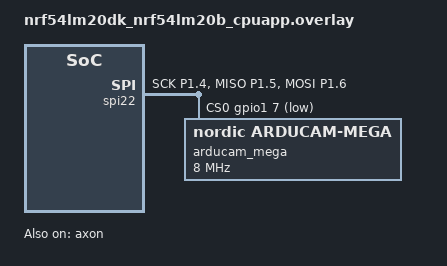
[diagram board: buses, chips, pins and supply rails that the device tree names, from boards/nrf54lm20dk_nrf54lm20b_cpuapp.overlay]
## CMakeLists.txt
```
# Copyright (c) 2026 Nordic Semiconductor
# SPDX-License-Identifier: LicenseRef-Nordic-5-Clause

cmake_minimum_required(VERSION 3.20.0)
find_package(Zephyr REQUIRED HINTS $ENV{ZEPHYR_BASE})
project(person_detection)

list(APPEND DTS_ROOT ${CMAKE_CURRENT_SOURCE_DIR}/dts)

target_sources(app PRIVATE
  src/main.c
  src/postprocessing.c
  src/drivers/arducam_mega.c
)

if(CONFIG_PERSON_DET_MODEL_IN_PARTITION)
  # Second-stage link produces *_model_image.bin merged into zephyr.hex at flash time.
  include(${CMAKE_CURRENT_SOURCE_DIR}/../../lib/axon/model_partition/cmake/nrf_axon_model_partition.cmake)

  nrf_axon_model_partition_image(
    TARGET person_det
    HEADER ${CMAKE_CURRENT_SOURCE_DIR}/src/generated/nrf_axon_model_person_det_.h
    PARTITION_NODELABEL axon_model_partition
  )
endif()
```

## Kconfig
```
#
# Copyright (c) 2026 Nordic Semiconductor ASA
#
# SPDX-License-Identifier: LicenseRef-Nordic-5-Clause
#

menu "Person detection application"

config SCORE_THRESHOLD
	int "Model score threshold, in per mille"
	range 0 1000
	help
	  The confidence score threshold for each person detection.
	  Detections with confidence scores below this threshold are filtered out.

config IOU_THRESHOLD
	int "Boxes IoU threshold, in per mille"
	range 0 1000
	help
	  The Intersection-over-Union threshold for Non-Maximum Suppression (NMS).
	  Used to eliminate overlapping bounding boxes from multiple detections of the same person.

config PERSON_DET_MODEL_IN_PARTITION
	bool "Store person_det model in a dedicated flash partition"
	default y
	select NRF_AXON_MODEL_PARTITION
	help
	  Place the person_det Axon model in axon_model_partition instead of
	  linking it into the application image. A partition image is merged into
	  the final HEX file at build time.

config ARDUCAM_MEGA
	bool
	select EXPERIMENTAL
	default y
	help
	  [Experimental]

endmenu

source "Kconfig.zephyr"
```

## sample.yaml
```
sample:
  description: Person detection application
  name: person_detection

common:
  sysbuild: true
  build_only: true
  tags:
    - ci_build
    - sysbuild
    - ci_applications_person_detection
  harness: console
  harness_config:
    type: multi_line
    regex:
      - "Person detection start"
      - "No detections|Bounding box"

tests:
  applications.person_detection.zdebug:
    platform_allow:
      - nrf54lm20dk/nrf54lm20b/cpuapp
      - nrf7120dk/nrf7120e/cpuapp
    integration_platforms:
      - nrf54lm20dk/nrf54lm20b/cpuapp
      - nrf7120dk/nrf7120e/cpuapp
```

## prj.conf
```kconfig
# Copyright (c) 2026 Nordic Semiconductor
# SPDX-License-Identifier: LicenseRef-Nordic-5-Clause

# Enable logging
CONFIG_PRINTK=y
CONFIG_LOG=y
CONFIG_LOG_MODE_IMMEDIATE=y
CONFIG_CBPRINTF_FP_SUPPORT=y

# Enable GPIO for LEDs
CONFIG_GPIO=y

# Enable Axon NPU driver and configure buffer
CONFIG_NRF_AXON=y
CONFIG_NRF_AXON_INTERLAYER_BUFFER_SIZE=229376

# Enable and configure Arducam dependencies (local nordic,arducam-mega driver)
CONFIG_SPI=y
CONFIG_VIDEO=y
CONFIG_VIDEO_ARDUCAM_MEGA=n
CONFIG_VIDEO_BUFFER_POOL_HEAP_SIZE=2200
CONFIG_VIDEO_BUFFER_POOL_NUM_MAX=4

# Other
CONFIG_ASSERT=y
CONFIG_MAIN_STACK_SIZE=2048

# Model postprocessing thresholds
CONFIG_SCORE_THRESHOLD=250
CONFIG_IOU_THRESHOLD=450
```

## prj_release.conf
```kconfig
# Copyright (c) 2026 Nordic Semiconductor
# SPDX-License-Identifier: LicenseRef-Nordic-5-Clause

CONFIG_GPIO=y
CONFIG_PRINTK=y
CONFIG_LOG=y
# Immediate logging causes stack overflow in USB DWC2/CDC ACM threads — use deferred.
# CONFIG_LOG_MODE_IMMEDIATE=y
CONFIG_CBPRINTF_FP_SUPPORT=y

CONFIG_NRF_AXON=y
CONFIG_NRF_AXON_MODEL_NAME="person_det"

# Must be >= NRF_AXON_MODEL_PERSON_DET_MAX_IL_BUFFER_USED (225280 in current header).
CONFIG_NRF_AXON_INTERLAYER_BUFFER_SIZE=229376
CONFIG_NRF_AXON_PSUM_BUFFER_SIZE=0

CONFIG_SCORE_THRESHOLD=250
CONFIG_IOU_THRESHOLD=450

CONFIG_SPI=y
CONFIG_VIDEO=y
CONFIG_VIDEO_BUFFER_POOL_HEAP_SIZE=2200
CONFIG_VIDEO_BUFFER_POOL_NUM_MAX=4

CONFIG_HEAP_MEM_POOL_SIZE=4096
CONFIG_MAIN_STACK_SIZE=16384

# USB CDC ACM streaming
CONFIG_USB_DEVICE_STACK_NEXT=y
CONFIG_SERIAL=y
CONFIG_UART_LINE_CTRL=y
CONFIG_USBD_CDC_ACM_CLASS=y
CONFIG_CDC_ACM_SERIAL_INITIALIZE_AT_BOOT=n
CONFIG_USBD_CDC_ACM_WORKQUEUE=y
CONFIG_USBD_CDC_ACM_STACK_SIZE=4096
CONFIG_UDC_DWC2_STACK_SIZE=4096
CONFIG_RING_BUFFER_LARGE=y
CONFIG_CRC=y
CONFIG_SAMPLE_USBD_PID=0x000A
CONFIG_SAMPLE_USBD_PRODUCT="Person Detection Stream"

# Debug
# CONFIG_THREAD_NAME=y

# CONFIG_DEBUG_THREAD_INFO=y
# CONFIG_THREAD_ANALYZER=y
# CONFIG_DEBUG_OPTIMIZATIONS=y

# CONFIG_NRF_CPU_LOAD=y
# CONFIG_NRF_CPU_LOAD_LOG_PERIODIC=y

CONFIG_NCS_BOOT_BANNER=n
CONFIG_BOOT_BANNER=n
CONFIG_LOG=n
CONFIG_PRINTK=n
CONFIG_UART_CONSOLE=n
CONFIG_CONSOLE=n
```

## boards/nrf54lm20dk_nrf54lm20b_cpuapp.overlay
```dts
/*
 * Copyright (c) 2026 Nordic Semiconductor ASA
 * SPDX-License-Identifier: LicenseRef-Nordic-5-Clause
 */

&axon {
	status = "okay";
};

/delete-node/ &slot1_partition;
/delete-node/ &storage_partition;

&cpuapp_rram {
	partitions {
		axon_model_partition: partition@102000 {
			compatible = "zephyr,mapped-partition";
			label = "axon-model";
			reg = <0x102000 DT_SIZE_K(864)>;
		};

		storage_partition: partition@1ea000 {
			compatible = "zephyr,mapped-partition";
			label = "storage";
			reg = <0x1ea000 DT_SIZE_K(76)>;
		};
	};
};

&pinctrl {
	spi22_default: spi22_default {
		group1 {
			psels = <NRF_PSEL(SPIM_SCK, 1, 4)>,
				<NRF_PSEL(SPIM_MISO, 1, 5)>,
				<NRF_PSEL(SPIM_MOSI, 1, 6)>;
			bias-pull-down;
		};
	};

	spi22_sleep: spi22_sleep {
		group1 {
			psels = <NRF_PSEL(SPIM_SCK, 1, 4)>,
				<NRF_PSEL(SPIM_MISO, 1, 5)>,
				<NRF_PSEL(SPIM_MOSI, 1, 6)>;
			bias-pull-down;
			low-power-enable;
		};
	};
};

&spi22 {
	compatible = "nordic,nrf-spim";
	status = "okay";
	pinctrl-0 = <&spi22_default>;
	pinctrl-1 = <&spi22_sleep>;
	pinctrl-names = "default", "sleep";
	overrun-character = <0x00>;
	zephyr,pm-device-runtime-auto;
	cs-gpios = <&gpio1 7 GPIO_ACTIVE_LOW>;

	arducam_mega: arducam-mega@0 {
		compatible = "nordic,arducam-mega";
		reg = <0>;
		spi-max-frequency = <8000000>;
		status = "okay";
	};
};
```

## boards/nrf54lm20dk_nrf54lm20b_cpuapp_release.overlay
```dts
/*
 * Copyright (c) 2026 Nordic Semiconductor ASA
 * SPDX-License-Identifier: LicenseRef-Nordic-5-Clause
 */

&axon {
	status = "okay";
};

&pinctrl {
	spi22_default: spi22_default {
		group1 {
			psels = <NRF_PSEL(SPIM_SCK, 1, 4)>,
				<NRF_PSEL(SPIM_MISO, 1, 5)>,
				<NRF_PSEL(SPIM_MOSI, 1, 6)>;
			bias-pull-down;
		};
	};

	spi22_sleep: spi22_sleep {
		group1 {
			psels = <NRF_PSEL(SPIM_SCK, 1, 4)>,
				<NRF_PSEL(SPIM_MISO, 1, 5)>,
				<NRF_PSEL(SPIM_MOSI, 1, 6)>;
			bias-pull-down;
			low-power-enable;
		};
	};
};

&spi22 {
	compatible = "nordic,nrf-spim";
	status = "okay";
	pinctrl-0 = <&spi22_default>;
	pinctrl-1 = <&spi22_sleep>;
	pinctrl-names = "default", "sleep";
	overrun-character = <0x00>;
	zephyr,pm-device-runtime-auto;
	cs-gpios = <&gpio1 7 GPIO_ACTIVE_LOW>;

	arducam_mega: arducam-mega@0 {
		compatible = "arducam,mega";
		reg = <0>;
		spi-max-frequency = <8000000>;
		status = "okay";
	};
};

&zephyr_udc0 {
	cdc_acm_uart0: cdc_acm_uart0 {
		compatible = "zephyr,cdc-acm-uart";
		tx-fifo-size = <34816>;
	};
};

&uart20 {
	status = "disabled";
};
```

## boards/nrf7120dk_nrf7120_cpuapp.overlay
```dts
/*
 * Copyright (c) 2026 Nordic Semiconductor ASA
 * SPDX-License-Identifier: LicenseRef-Nordic-5-Clause
 */

&global_peripherals {
	axon: axon@56000 {
		compatible = "nordic,axon";
		reg = <0x56000 0x1000>;
		interrupts = <86 NRF_DEFAULT_IRQ_PRIORITY>;
		status = "okay";
	};
};

/*
 * The Arducam Mega requires 3.3 V logic levels. The only port P4 has a configurable
 * 1.8-3.3 V rail (VDD_IO_P4_3V3). No SPIM instance can mux to P4 - its pins
 * expose GPIO and analog functions only - so the bus is bit-banged over plain
 * GPIOs on P4 instead.
 */
/ {
	spibb0: spibb0 {
		compatible = "zephyr,spi-bitbang";
		status = "okay";
		#address-cells = <1>;
		#size-cells = <0>;

		clk-gpios = <&gpio4 2 GPIO_ACTIVE_HIGH>;
		mosi-gpios = <&gpio4 3 GPIO_ACTIVE_HIGH>;
		miso-gpios = <&gpio4 4 GPIO_ACTIVE_HIGH>;
		cs-gpios = <&gpio4 5 GPIO_ACTIVE_LOW>;

		arducam_mega: arducam-mega@0 {
			compatible = "nordic,arducam-mega";
			reg = <0>;
			spi-max-frequency = <DT_FREQ_M(8)>;
			status = "okay";
		};
	};
};
```

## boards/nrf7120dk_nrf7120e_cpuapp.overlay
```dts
/*
 * Copyright (c) 2026 Nordic Semiconductor ASA
 * SPDX-License-Identifier: LicenseRef-Nordic-5-Clause
 */

&axon {
	status = "okay";
};

/*
 * The Arducam Mega requires 3.3 V logic levels. The only port P4 has a configurable
 * 1.8-3.3 V rail (VDD_IO_P4_3V3). No SPIM instance can mux to P4 - its pins
 * expose GPIO and analog functions only - so the bus is bit-banged over plain
 * GPIOs on P4 instead.
 */
&gpio4 {
	/* Must match the VDD_IO_P4_3V3 rail set in the Board Configurator. */
	nordic,pad-voltage = "3v3";
};

/ {
	spibb0: spibb0 {
		compatible = "zephyr,spi-bitbang";
		status = "okay";
		#address-cells = <1>;
		#size-cells = <0>;

		clk-gpios = <&gpio4 2 GPIO_ACTIVE_HIGH>;
		mosi-gpios = <&gpio4 3 GPIO_ACTIVE_HIGH>;
		miso-gpios = <&gpio4 4 GPIO_ACTIVE_HIGH>;
		cs-gpios = <&gpio4 5 GPIO_ACTIVE_LOW>;

		arducam_mega: arducam-mega@0 {
			compatible = "nordic,arducam-mega";
			reg = <0>;
			spi-max-frequency = <DT_FREQ_M(8)>;
			status = "okay";
		};
	};
};
```

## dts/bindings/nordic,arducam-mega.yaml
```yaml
# ARDUCAM_MEGA

# Copyright (c) 2023 Arducam Technology Co., Ltd. <www.arducam.com>
# SPDX-License-Identifier: Apache-2.0
#
# NOTICE: This file has been modified by Nordic Semiconductor ASA.

description: Arducam Mega CMOS video sensor (Nordic fork)

compatible: "nordic,arducam-mega"

include: spi-device.yaml
```

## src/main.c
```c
/*
 * Copyright (c) 2026 Nordic Semiconductor ASA
 *
 * SPDX-License-Identifier: LicenseRef-Nordic-5-Clause
 */

#include "postprocessing.h"

#include <assert.h>
#include <stdint.h>

#include <zephyr/device.h>
#include <zephyr/drivers/gpio.h>
#include <zephyr/drivers/video.h>
#include <zephyr/kernel.h>
#include <zephyr/logging/log.h>
#include <zephyr/sys/minmax.h>

#include <axon/nrf_axon_platform.h>
#include <drivers/axon/nrf_axon_driver.h>
#include <drivers/axon/nrf_axon_nn_infer.h>

#include "generated/nrf_axon_model_person_det_.h"

LOG_MODULE_REGISTER(main);

#define CAM_WIDTH    128
#define CAM_HEIGHT   128
#define MODEL_WIDTH  160
#define MODEL_HEIGHT 128
#define PAD_LEFT     (((MODEL_WIDTH) - (CAM_WIDTH)) / 2)
#define PAD_TOP	     (((MODEL_HEIGHT) - (CAM_HEIGHT)) / 2)

#define FRAME_RGB565_BYTES ((CAM_WIDTH) * (CAM_HEIGHT) * 2)

#define LUT_SIZE_5_BITS 32
#define LUT_SIZE_6_BITS 64

#define MAX_BOXES_LOG 8

static int8_t input_buf[MODEL_WIDTH * MODEL_HEIGHT * 3];
static int8_t output_buf[NRF_AXON_MODEL_PERSON_DET_PACKED_OUTPUT_SIZE];

static int8_t lut_red_blue[LUT_SIZE_5_BITS];
static int8_t lut_green[LUT_SIZE_6_BITS];

static const struct gpio_dt_spec led_capture = GPIO_DT_SPEC_GET(DT_ALIAS(led0), gpios);
static const struct gpio_dt_spec led_detection = GPIO_DT_SPEC_GET(DT_ALIAS(led1), gpios);

static void capture_timer_expiry(struct k_timer *timer);

static K_TIMER_DEFINE(capture_timer, capture_timer_expiry, NULL);
static K_SEM_DEFINE(capture_sem, 0, 1);

static void capture_timer_expiry(struct k_timer *timer)
{
	k_sem_give(&capture_sem);
}

static int led_init(const struct gpio_dt_spec *spec)
{
	int err;

	if (!gpio_is_ready_dt(spec)) {
		LOG_ERR("GPIO %s is not ready", spec->port->name);
		return -ENODEV;
	}

	err = gpio_pin_configure_dt(spec, GPIO_OUTPUT_INACTIVE);
	if (err) {
		LOG_ERR("Failed to configure %s pin %u (err %d)", spec->port->name, spec->pin, err);
		return err;
	}

	return 0;
}

static inline int8_t quantize(const float value, const nrf_axon_nn_compiled_model_input_s *in)
{
	const uint32_t quant_mult = in->quant_mult;
	const uint8_t quant_round = in->quant_round;
	const int8_t quant_zp = in->quant_zp;

	const float scale = (float)quant_mult / (float)(1 << quant_round);
	const int32_t quantized = (int32_t)(value * scale) + quant_zp;

	return (int8_t)__ssat(quantized, 8);
}

static void prefill_input_buf(const nrf_axon_nn_compiled_model_input_s *in)
{
	const float gray_symmetric = 0.0f;
	const int8_t gray = quantize(gray_symmetric, in);

	memset(input_buf, gray, sizeof(input_buf));
}

static void prefill_luts(const nrf_axon_nn_compiled_model_input_s *in)
{
	for (size_t i = 0; i < ARRAY_SIZE(lut_red_blue); i++) {
		const float value = (float)i / 32.f;
		const float value_sym = (value * 2.f) - 1.f;

		lut_red_blue[i] = quantize(value_sym, in);
	}

	for (size_t i = 0; i < ARRAY_SIZE(lut_green); i++) {
		const float value = (float)i / 64.f;
		const float value_sym = (value * 2.f) - 1.f;

		lut_green[i] = quantize(value_sym, in);
	}
}

static inline uint16_t extract_pixel(const uint8_t *data, const size_t pixel)
{
	const size_t offset = pixel * 2;

	return (uint16_t)((uint16_t)data[offset] << 8 | data[offset + 1]);
}

static void convert_chunk_to_model_input(const uint8_t *chunk_buf, const size_t pixel_start,
					 const size_t pixel_count)
{
	for (size_t p = 0; p < pixel_count; p++) {
		const size_t pixel_idx = pixel_start + p;
		const size_t cam_row = pixel_idx / CAM_WIDTH;
		const size_t cam_col = pixel_idx % CAM_WIDTH;
		const size_t model_row = PAD_TOP + cam_row;
		const size_t model_col = PAD_LEFT + cam_col;
		const size_t dst_offset = model_row * MODEL_WIDTH + model_col;

		const uint16_t pixel = extract_pixel(chunk_buf, p);
		const uint8_t r5 = (pixel >> 11) & 0x1f;
		const uint8_t g6 = (pixel >> 5) & 0x3f;
		const uint8_t b5 = pixel & 0x1f;

		input_buf[0 * MODEL_WIDTH * MODEL_HEIGHT + dst_offset] = (int8_t)lut_red_blue[r5];
		input_buf[1 * MODEL_WIDTH * MODEL_HEIGHT + dst_offset] = (int8_t)lut_green[g6];
		input_buf[2 * MODEL_WIDTH * MODEL_HEIGHT + dst_offset] = (int8_t)lut_red_blue[b5];
	}
}

static int capture_one_frame(const struct device *video)
{
	size_t total = 0;

	while (total < FRAME_RGB565_BYTES) {
		struct video_buffer *vbuf;
		int err = video_dequeue(video, &vbuf, K_FOREVER);

		if (err == -EAGAIN) {
			continue;
		}
		if (err) {
			LOG_ERR("video_dequeue failed: %d", err);
			return err;
		}

		const size_t room = FRAME_RGB565_BYTES - total;
		const size_t chunk = min(vbuf->bytesused, room);

		convert_chunk_to_model_input(vbuf->buffer, total / 2, chunk / 2);

		total += chunk;

		vbuf->type = VIDEO_BUF_TYPE_OUTPUT;
		video_enqueue(video, vbuf);
	}

	return 0;
}

static void log_bounding_boxes(const struct detection_box *boxes, const size_t n)
{
	for (size_t i = 0; i < n; i++) {
		LOG_INF("Bounding box %d: head %s, [%.1f, %.1f, %.1f, %.1f] score %.3f", i,
			model_head_name(boxes[i].head_id), (double)boxes[i].x1, (double)boxes[i].y1,
			(double)boxes[i].x2, (double)boxes[i].y2, (double)boxes[i].score);
	}
}

static int capture_and_detect(const struct device *video, const nrf_axon_nn_compiled_model_s *model)
{
	int err;
	nrf_axon_result_e result;

	struct detection_box boxes[MAX_BOXES_LOG];

	(void)gpio_pin_toggle_dt(&led_capture);

	err = video_stream_start(video, VIDEO_BUF_TYPE_OUTPUT);
	if (err) {
		LOG_ERR("Failed to start stream (err %d)", err);
		return -1;
	}

	err = capture_one_frame(video);
	if (err) {
		LOG_ERR("Failed to capture frame (err %d)", err);
		(void)video_stream_stop(video, VIDEO_BUF_TYPE_OUTPUT);
		return -1;
	}

	err = video_stream_stop(video, VIDEO_BUF_TYPE_OUTPUT);
	if (err) {
		LOG_ERR("Failed to stop stream (err %d)", err);
		return -1;
	}

	result = nrf_axon_nn_model_infer_sync(model, input_buf, output_buf);
	if (result != NRF_AXON_RESULT_SUCCESS) {
		LOG_ERR("Inference failed (result %d)", result);
		(void)gpio_pin_set_dt(&led_detection, 0);
		return -1;
	}

	const size_t n = decode_output(model, output_buf, boxes, MAX_BOXES_LOG);

	if (n > 0) {
		(void)gpio_pin_set_dt(&led_detection, 1);
		log_bounding_boxes(boxes, n);
	} else {
		(void)gpio_pin_set_dt(&led_detection, 0);
		LOG_INF("No detections");
	}

	return 0;
}

int main(void)
{
	int err;

	nrf_axon_result_e result;
	const nrf_axon_nn_compiled_model_s *model = &model_person_det;
	const nrf_axon_nn_compiled_model_input_s *model_inputs = &model->inputs[0];

	const struct device *video = DEVICE_DT_GET(DT_NODELABEL(arducam_mega));
	struct video_buffer *vbufs[2];
	struct video_format fmt = {.type = VIDEO_BUF_TYPE_INPUT,
				   .pixelformat = VIDEO_PIX_FMT_RGB565,
				   .width = CAM_WIDTH,
				   .height = CAM_HEIGHT,
				   .pitch = CAM_WIDTH * 2};

	if (led_init(&led_capture) != 0) {
		return -1;
	}
	if (led_init(&led_detection) != 0) {
		return -1;
	}

	if (!device_is_ready(video)) {
		LOG_ERR("Video device not ready");
		return -1;
	}

	err = video_set_format(video, &fmt);
	if (err) {
		LOG_ERR("Setting video format failed (err %d)", err);
		return -1;
	}

	for (size_t i = 0; i < ARRAY_SIZE(vbufs); i++) {
		vbufs[i] = video_buffer_alloc(1024, K_NO_WAIT);
		if (vbufs[i] == NULL) {
			LOG_ERR("Allocation failed for video buffer %u", i);
			return -1;
		}
		vbufs[i]->type = VIDEO_BUF_TYPE_OUTPUT;
		video_enqueue(video, vbufs[i]);
	}

	result = nrf_axon_platform_init();
	if (result != NRF_AXON_RESULT_SUCCESS) {
		LOG_ERR("Axon platform init failed (result %d)", result);
		return -1;
	}

	result = nrf_axon_nn_model_validate(model);
	if (result != NRF_AXON_RESULT_SUCCESS) {
		LOG_ERR("Model validation failed (result %d)", result);
		return -1;
	}

	prefill_input_buf(model_inputs);
	prefill_luts(model_inputs);
	decode_init(model);

	LOG_INF("Person detection start");

	k_timer_start(&capture_timer, K_NO_WAIT, K_MSEC(500));

	while (true) {
		err = k_sem_take(&capture_sem, K_FOREVER);
		if (err) {
			continue;
		}

		err = capture_and_detect(video, model);
		if (err) {
			return -1;
		}
	}

	return 0;
}
```

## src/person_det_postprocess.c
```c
/*
 * Copyright (c) 2026 Nordic Semiconductor ASA
 * SPDX-License-Identifier: LicenseRef-Nordic-5-Clause
 */

#include "person_det_postprocess.h"

#include <math.h>
#include <stdbool.h>
#include <stdlib.h>

#define NUM_ANCHORS    3
#define PRED_PER_ANCH  6
#define MAX_CANDIDATES 400

static const float k_anchors_stride32[6] = {116.f, 90.f, 156.f, 198.f, 373.f, 326.f};
static const float k_anchors_stride16[6] = {30.f, 61.f, 62.f, 45.f, 59.f, 119.f};
static const float k_anchors_stride8[6] = {10.f, 13.f, 16.f, 30.f, 33.f, 23.f};

static float dequant(int8_t q, uint32_t mult, uint8_t round, int8_t zp);

struct person_det_sigmoid_lut {
	float sigmoid_values[UINT8_MAX + 1U];
	float exp_values[UINT8_MAX + 1U];
	uint32_t mult;
	uint8_t round;
	int8_t zp;
	bool ready;
};

static void person_det_sigmoid_lut_init(struct person_det_sigmoid_lut *lut, uint32_t mult,
					uint8_t round, int8_t zp)
{
	if (lut->ready && lut->mult == mult && lut->round == round && lut->zp == zp) {
		return;
	}

	for (unsigned i = 0; i <= UINT8_MAX; i++) {
		int8_t q = (int8_t)i;
		float x = dequant(q, mult, round, zp);

		if (x >= 0.f) {
			float z = expf(-x);

			lut->sigmoid_values[i] = 1.f / (1.f + z);
		} else {
			float z = expf(x);

			lut->sigmoid_values[i] = z / (1.f + z);
		}

		lut->exp_values[i] = expf(x);
	}

	lut->mult = mult;
	lut->round = round;
	lut->zp = zp;
	lut->ready = true;
}

static float sigmoid_q(const struct person_det_sigmoid_lut *lut, int8_t q)
{
	return lut->sigmoid_values[(uint8_t)q];
}

static float exp_q(const struct person_det_sigmoid_lut *lut, int8_t q)
{
	return lut->exp_values[(uint8_t)q];
}

static struct person_det_sigmoid_lut g_sigmoid_lut_s32;
static struct person_det_sigmoid_lut g_sigmoid_lut_s16;
static struct person_det_sigmoid_lut g_sigmoid_lut_s8;

struct person_det_input_size {
	float width;
	float height;
};

struct person_det_output_desc {
	const int8_t *base;
	uint16_t height;
	uint16_t width;
	uint16_t row_stride;
	uint32_t dequant_mult;
	uint8_t dequant_round;
	int8_t dequant_zp;
};

struct person_det_scale_desc {
	const int8_t *base;
	uint16_t height;
	uint16_t width;
	uint16_t row_stride;
	int stride_px;
	const float *anchors;
	const struct person_det_sigmoid_lut *sigmoid_lut;
	enum person_det_head head_id;
};

struct person_det_head_desc {
	enum person_det_head head_id;
	int stride_px;
	int extra_output_idx;
	const float *anchors;
	struct person_det_sigmoid_lut *sigmoid_lut;
};

static const struct person_det_head_desc k_head_descs[] = {
	{
		.head_id = PERSON_DET_HEAD_STRIDE_32,
		.stride_px = 32,
		.extra_output_idx = 1,
		.anchors = k_anchors_stride32,
		.sigmoid_lut = &g_sigmoid_lut_s32,
	},
	{
		.head_id = PERSON_DET_HEAD_STRIDE_16,
		.stride_px = 16,
		.extra_output_idx = 0,
		.anchors = k_anchors_stride16,
		.sigmoid_lut = &g_sigmoid_lut_s16,
	},
	{
		.head_id = PERSON_DET_HEAD_STRIDE_8,
		.stride_px = 8,
		.extra_output_idx = -1,
		.anchors = k_anchors_stride8,
		.sigmoid_lut = &g_sigmoid_lut_s8,
	},
};

const char *person_det_head_name(enum person_det_head head)
{
	switch (head) {
	case PERSON_DET_HEAD_STRIDE_32:
		return "s32";
	case PERSON_DET_HEAD_STRIDE_16:
		return "s16";
	case PERSON_DET_HEAD_STRIDE_8:
		return "s8";
	default:
		return "?";
	}
}

static float dequant(int8_t q, uint32_t mult, uint8_t round, int8_t zp)
{
	return (float)((int)q - (int)zp) * (float)mult / (float)(1U << round);
}

static int8_t read_ch(const int8_t *base, uint16_t h, uint16_t row_stride, uint16_t c, uint16_t y,
		      uint16_t x)
{
	return base[(size_t)c * (size_t)h * (size_t)row_stride + (size_t)y * (size_t)row_stride +
		    (size_t)x];
}

static void decode_scale(const struct person_det_scale_desc *scale,
			 const struct person_det_input_size *input_size,
			 const struct person_det_decode_config *config, struct person_det_box *cand,
			 int *ncand);

static bool get_output_desc(const nrf_axon_nn_compiled_model_s *model,
			    const struct person_det_head_desc *head,
			    struct person_det_output_desc *output)
{
	if (head->extra_output_idx >= 0) {
		if (model->extra_output_cnt <= (uint32_t)head->extra_output_idx) {
			return false;
		}

		const nrf_axon_compiled_model_output_s *extra =
			&model->extra_outputs[head->extra_output_idx];

		*output = (struct person_det_output_desc){
			.base = extra->ptr,
			.height = extra->dimensions.height,
			.width = extra->dimensions.width,
			.row_stride = extra->stride,
			.dequant_mult = extra->dequant_mult,
			.dequant_round = extra->dequant_round,
			.dequant_zp = extra->dequant_zp,
		};

		return true;
	}

	*output = (struct person_det_output_desc){
		.base = model->output_ptr,
		.height = model->output_dimensions.height,
		.width = model->output_dimensions.width,
		.row_stride = model->output_stride,
		.dequant_mult = model->output_dequant_mult,
		.dequant_round = model->output_dequant_round,
		.dequant_zp = model->output_dequant_zp,
	};

	return true;
}

static void decode_head_output(const struct person_det_head_desc *head,
			       const struct person_det_output_desc *output,
			       const struct person_det_input_size *input_size,
			       const struct person_det_decode_config *config,
			       struct person_det_box *cand, int *ncand)
{
	person_det_sigmoid_lut_init(head->sigmoid_lut, output->dequant_mult, output->dequant_round,
				    output->dequant_zp);

	const struct person_det_scale_desc scale = {
		.base = output->base,
		.height = output->height,
		.width = output->width,
		.row_stride = output->row_stride,
		.stride_px = head->stride_px,
		.anchors = head->anchors,
		.sigmoid_lut = head->sigmoid_lut,
		.head_id = head->head_id,
	};

	decode_scale(&scale, input_size, config, cand, ncand);
}

static void decode_scale(const struct person_det_scale_desc *scale,
			 const struct person_det_input_size *input_size,
			 const struct person_det_decode_config *config, struct person_det_box *cand,
			 int *ncand)
{
	for (unsigned y = 0; y < scale->height; y++) {
		for (unsigned x = 0; x < scale->width; x++) {
			for (int a = 0; a < NUM_ANCHORS; a++) {
				int o = a * PRED_PER_ANCH;
				int8_t qcx = read_ch(scale->base, scale->height, scale->row_stride,
						   (uint16_t)(o + 0), y, x);
				int8_t qcy = read_ch(scale->base, scale->height, scale->row_stride,
						   (uint16_t)(o + 1), y, x);
				int8_t qw = read_ch(scale->base, scale->height, scale->row_stride,
						  (uint16_t)(o + 2), y, x);
				int8_t qh = read_ch(scale->base, scale->height, scale->row_stride,
						  (uint16_t)(o + 3), y, x);
				int8_t qobj = read_ch(scale->base, scale->height, scale->row_stride,
						    (uint16_t)(o + 4), y, x);
				int8_t qcls = read_ch(scale->base, scale->height, scale->row_stride,
						    (uint16_t)(o + 5), y, x);

				float cx =
					(sigmoid_q(scale->sigmoid_lut, qcx) + (float)x) * (float)scale->stride_px;
				float cy =
					(sigmoid_q(scale->sigmoid_lut, qcy) + (float)y) * (float)scale->stride_px;
				float bw = exp_q(scale->sigmoid_lut, qw) * scale->anchors[a * 2 + 0];
				float bh = exp_q(scale->sigmoid_lut, qh) * scale->anchors[a * 2 + 1];

				float hw = bw * 0.5f;
				float hh = bh * 0.5f;

				float conf = sigmoid_q(scale->sigmoid_lut, qobj) *
					     sigmoid_q(scale->sigmoid_lut, qcls);
				if (conf < config->score_thresh || *ncand >= MAX_CANDIDATES) {
					continue;
				}

				float x1 = cx - hw;
				float y1 = cy - hh;
				float x2 = cx + hw;
				float y2 = cy + hh;

				if (x1 < 0.f) {
					x1 = 0.f;
				}
				if (y1 < 0.f) {
					y1 = 0.f;
				}
				if (x2 > input_size->width) {
					x2 = input_size->width;
				}
				if (y2 > input_size->height) {
					y2 = input_size->height;
				}
				if (x2 <= x1 || y2 <= y1) {
					continue;
				}

				cand[*ncand].x1 = x1;
				cand[*ncand].y1 = y1;
				cand[*ncand].x2 = x2;
				cand[*ncand].y2 = y2;
				cand[*ncand].score = conf;
				cand[*ncand].head = scale->head_id;
				(*ncand)++;
			}
		}
	}
}

static float bbox_iou(const struct person_det_box *a, const struct person_det_box *b)
{
	float xx1 = fmaxf(a->x1, b->x1);
	float yy1 = fmaxf(a->y1, b->y1);
	float xx2 = fminf(a->x2, b->x2);
	float yy2 = fminf(a->y2, b->y2);
	float w = fmaxf(0.f, xx2 - xx1);
	float h = fmaxf(0.f, yy2 - yy1);
	float inter = w * h;
	float area_a = (a->x2 - a->x1) * (a->y2 - a->y1);
	float area_b = (b->x2 - b->x1) * (b->y2 - b->y1);

	return inter / (area_a + area_b - inter + 1e-6f);
}

static int cmp_score_desc(const void *va, const void *vb)
{
	const struct person_det_box *a = va;
	const struct person_det_box *b = vb;

	if (a->score > b->score) {
		return -1;
	}
	if (a->score < b->score) {
		return 1;
	}
	return 0;
}

static int nms(struct person_det_box *dets, int n, struct person_det_box *out,
	       const struct person_det_decode_config *config)
{
	if (n <= 0) {
		return 0;
	}

	qsort(dets, (size_t)n, sizeof(dets[0]), cmp_score_desc);

	int kept = 0;

	for (int i = 0; i < n && kept < config->max_out; i++) {
		bool take = true;

		for (int j = 0; j < kept; j++) {
			if (bbox_iou(&dets[i], &out[j]) > config->nms_iou) {
				take = false;
				break;
			}
		}
		if (take) {
			out[kept++] = dets[i];
		}
	}

	return kept;
}

int person_det_decode_and_nms(const nrf_axon_nn_compiled_model_s *model, struct person_det_box *out,
			      const struct person_det_decode_config *config)
{
	if (model == NULL || out == NULL || config == NULL || config->max_out <= 0) {
		return 0;
	}

	struct person_det_box cand[MAX_CANDIDATES];
	int ncand = 0;

	const nrf_axon_nn_model_layer_dimensions_s *idim = &model->inputs[model->external_input_ndx].dimensions;
	const struct person_det_input_size input_size = {
		.width = (float)idim->width,
		.height = (float)idim->height,
	};

	/* Same tensor order as run_det_camera.py: stride 32, 16, 8 (see build_det_helper). */
	for (size_t i = 0; i < sizeof(k_head_descs) / sizeof(k_head_descs[0]); i++) {
		struct person_det_output_desc output;

		if (!get_output_desc(model, &k_head_descs[i], &output)) {
			continue;
		}

		decode_head_output(&k_head_descs[i], &output, &input_size, config, cand, &ncand);
	}

	return nms(cand, ncand, out, config);
}
```

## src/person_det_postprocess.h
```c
/*
 * Copyright (c) 2026 Nordic Semiconductor ASA
 * SPDX-License-Identifier: LicenseRef-Nordic-5-Clause
 *
 * YOLOv3-style decode + greedy NMS for MCUNet person_det Axon model (matches
 * mcunet/utils/det_helper.py + run_det_camera.py).
 */

#pragma once

#include <drivers/axon/nrf_axon_nn_infer.h>
#include <stdint.h>

/** Which detection head produced the box (decode order matches tensor order). */
enum person_det_head {
	PERSON_DET_HEAD_STRIDE_32 = 0, /**< extra_outputs[1], coarse grid */
	PERSON_DET_HEAD_STRIDE_16 = 1, /**< extra_outputs[0] */
	PERSON_DET_HEAD_STRIDE_8 = 2,  /**< main output, finest grid */
};

struct person_det_box {
	float x1, y1, x2, y2;
	float score;
	enum person_det_head head;
};

struct person_det_decode_config {
	int max_out;
	float score_thresh;
	float nms_iou;
};

/** Short label for logs (e.g. "s32", "s16", "s8"). */
const char *person_det_head_name(enum person_det_head head);

/**
 * Decode all three detection heads and run NMS. Uses raw output pointers inside
 * @p model (valid immediately after nrf_axon_nn_model_infer_sync()).
 *
 * @param config        decode and NMS configuration
 * @return number of boxes written to @p out (at most config->max_out)
 */
int person_det_decode_and_nms(const nrf_axon_nn_compiled_model_s *model, struct person_det_box *out,
			      const struct person_det_decode_config *config);
```

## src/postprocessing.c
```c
/*
 * Copyright (c) 2026 Nordic Semiconductor ASA
 *
 * SPDX-License-Identifier: LicenseRef-Nordic-5-Clause
 */

#include "postprocessing.h"

#include <math.h>
#include <stdbool.h>
#include <stdlib.h>

#include <zephyr/logging/log.h>

LOG_MODULE_REGISTER(decode);

/*
 * Used person_det model use YOLOv3 style of output having 3 heads, one per stride size
 * Each head have HxW cells and each cell have three anchors.
 * Each anchor contains 4 values for box location and 2 values for box and class score.
 */
#define MODEL_HEADS	  3
#define NUM_ANCHORS	  3
#define VALUES_PER_ANCHOR 6

/* Despite model having 400 anchors in total, alloc space for less and filter by score. */
#define MAX_CANDIDATES 50

struct model_head_desc {
	const enum model_head head_id;
	const uint8_t stride_px;
	const uint8_t output_idx;
	const float anchors[NUM_ANCHORS][2];
};

struct model_head_lut {
	float sigmoid_values[UINT8_MAX + 1U];
	float exp_values[UINT8_MAX + 1U];
};

struct model_input_size {
	float width;
	float height;
};

static const struct model_head_desc head_descs[MODEL_HEADS] = {
	{
		.head_id = MODEL_HEAD_STRIDE_32,
		.stride_px = 32,
		.output_idx = 2,
		.anchors = {{116.f, 90.f}, {156.f, 198.f}, {373.f, 326.f}},
	},
	{
		.head_id = MODEL_HEAD_STRIDE_16,
		.stride_px = 16,
		.output_idx = 1,
		.anchors = {{30.f, 61.f}, {62.f, 45.f}, {59.f, 119.f}},
	},
	{
		.head_id = MODEL_HEAD_STRIDE_8,
		.stride_px = 8,
		.output_idx = 0,
		.anchors = {{10.f, 13.f}, {16.f, 30.f}, {33.f, 23.f}},
	},
};

static struct model_head_lut luts[MODEL_HEADS];

static float dequant(const int8_t q, const uint32_t mult, const uint8_t round, const int8_t zp)
{
	const float scale = (float)mult / (float)(1U << round);

	return (float)((int)q - (int)zp) * scale;
}

static void lut_init(struct model_head_lut *lut, const uint32_t mult, const uint8_t round,
		     const int8_t zp)
{
	for (size_t i = 0; i <= UINT8_MAX; i++) {
		const int8_t q = (int8_t)i;
		const float x = dequant(q, mult, round, zp);

		if (x >= 0.f) {
			const float z = expf(-x);

			lut->sigmoid_values[i] = 1.f / (1.f + z);
		} else {
			const float z = expf(x);

			lut->sigmoid_values[i] = z / (1.f + z);
		}

		lut->exp_values[i] = expf(x);
	}
}

static float sigmoid_q(const struct model_head_lut *lut, int8_t q)
{
	return lut->sigmoid_values[(uint8_t)q];
}

static float exp_q(const struct model_head_lut *lut, int8_t q)
{
	return lut->exp_values[(uint8_t)q];
}

static float box_iou(const struct detection_box *a, const struct detection_box *b)
{
	float xx1 = fmaxf(a->x1, b->x1);
	float yy1 = fmaxf(a->y1, b->y1);
	float xx2 = fminf(a->x2, b->x2);
	float yy2 = fminf(a->y2, b->y2);
	float w = fmaxf(0.f, xx2 - xx1);
	float h = fmaxf(0.f, yy2 - yy1);
	float inter = w * h;
	float area_a = (a->x2 - a->x1) * (a->y2 - a->y1);
	float area_b = (b->x2 - b->x1) * (b->y2 - b->y1);

	return inter / (area_a + area_b - inter + 1e-6f);
}

static int cmp_score_desc(const void *va, const void *vb)
{
	const struct detection_box *a = va;
	const struct detection_box *b = vb;

	if (a->score > b->score) {
		return -1;
	}
	if (a->score < b->score) {
		return 1;
	}
	return 0;
}

static size_t nms(struct detection_box *candidates, const size_t n, struct detection_box *boxes,
		  const size_t boxes_size)
{
	qsort(candidates, (size_t)n, sizeof(*candidates), cmp_score_desc);

	const float iou_threshold = CONFIG_IOU_THRESHOLD / 1000.f;
	size_t kept = 0;

	for (size_t i = 0; i < n && kept < boxes_size; i++) {
		bool take = true;

		for (size_t j = 0; j < kept; j++) {
			if (box_iou(&candidates[i], &boxes[j]) > iou_threshold) {
				take = false;
				break;
			}
		}
		if (take) {
			boxes[kept++] = candidates[i];
		}
	}

	return kept;
}

static int8_t get_value(const int8_t *base, const nrf_axon_nn_model_layer_dimensions_s *out_dims,
			const size_t channel, const size_t row, const size_t col)
{
	const size_t channel_offset = channel * out_dims->height * out_dims->width;
	const size_t row_offset = row * out_dims->width;

	return base[channel_offset + row_offset + col];
}

static void decode_head(const struct model_head_desc *desc,
			const struct model_input_size *input_size,
			const nrf_axon_nn_model_layer_dimensions_s *dims, const int8_t *data,
			struct detection_box *cand, size_t *ncand)
{
	const float score_thresh = CONFIG_SCORE_THRESHOLD / 1000.f;
	const struct model_head_lut *lut = &luts[desc->output_idx];

	for (size_t row = 0; row < dims->height; row++) {
		for (size_t col = 0; col < dims->width; col++) {
			for (size_t anchor = 0; anchor < NUM_ANCHORS; anchor++) {
				const size_t channel = anchor * VALUES_PER_ANCHOR;

				const int8_t qcx = get_value(data, dims, channel + 0, row, col);
				const int8_t qcy = get_value(data, dims, channel + 1, row, col);
				const int8_t qw = get_value(data, dims, channel + 2, row, col);
				const int8_t qh = get_value(data, dims, channel + 3, row, col);
				const int8_t qobj = get_value(data, dims, channel + 4, row, col);
				const int8_t qcls = get_value(data, dims, channel + 5, row, col);

				const float conf = sigmoid_q(lut, qobj) * sigmoid_q(lut, qcls);

				if (conf < score_thresh) {
					continue;
				}

				if (*ncand >= MAX_CANDIDATES) {
					LOG_WRN("Skipping some candidates");
					return;
				}

				const float cx =
					(sigmoid_q(lut, qcx) + (float)col) * (float)desc->stride_px;
				const float cy =
					(sigmoid_q(lut, qcy) + (float)row) * (float)desc->stride_px;

				const float hw = exp_q(lut, qw) * desc->anchors[anchor][0] * 0.5f;
				const float hh = exp_q(lut, qh) * desc->anchors[anchor][1] * 0.5f;

				if (hw < 0 || hh < 0) {
					continue;
				}

				const float x1 = fmaxf(cx - hw, 0.f);
				const float y1 = fmaxf(cy - hh, 0.f);

				const float x2 = fminf(cx + hw, input_size->width);
				const float y2 = fminf(cy + hh, input_size->height);

				cand[*ncand] = (struct detection_box){
					.x1 = x1,
					.y1 = y1,
					.x2 = x2,
					.y2 = y2,
					.score = conf,
					.head_id = desc->head_id,
				};
				(*ncand)++;
			}
		}
	}
}

void decode_init(const nrf_axon_nn_compiled_model_s *model)
{
	__ASSERT_NO_MSG(model);
	__ASSERT_NO_MSG(ARRAY_SIZE(head_descs) == model->output_cnt);

	for (size_t i = 0; i < ARRAY_SIZE(head_descs); i++) {
		const uint8_t output_idx = head_descs[i].output_idx;

		__ASSERT_NO_MSG(output_idx < model->output_cnt);

		const nrf_axon_compiled_model_output_s *model_output =
			&model->outputs[output_idx];

		lut_init(&luts[output_idx], model_output->dequant_mult,
				model_output->dequant_round, model_output->dequant_zp);
	}
}

size_t decode_output(const nrf_axon_nn_compiled_model_s *model, const int8_t *packed_data,
		     struct detection_box *boxes, const size_t boxes_size)
{
	__ASSERT_NO_MSG(model);
	__ASSERT_NO_MSG(ARRAY_SIZE(head_descs) == model->output_cnt);
	__ASSERT_NO_MSG(packed_data);
	__ASSERT_NO_MSG(boxes);

	struct detection_box cand[MAX_CANDIDATES];
	size_t ncand = 0;

	const nrf_axon_nn_model_layer_dimensions_s *in_dims =
		&model->inputs[0].dimensions;
	const struct model_input_size input_size = {
		.width = (float)in_dims->width,
		.height = (float)in_dims->height,
	};

	for (size_t i = 0; i < ARRAY_SIZE(head_descs); i++) {
		const uint8_t output_idx = head_descs[i].output_idx;
		const nrf_axon_nn_model_layer_dimensions_s *out_dims =
					&model->outputs[output_idx].dimensions;
		const int8_t *packed_output =
			packed_data + model->outputs[output_idx].packed_buffer_offset;

		decode_head(&head_descs[i], &input_size, out_dims, packed_output, cand, &ncand);
	}

	return nms(cand, ncand, boxes, boxes_size);
}

const char *model_head_name(enum model_head head_id)
{
	switch (head_id) {
	case MODEL_HEAD_STRIDE_32:
		return "s32";
	case MODEL_HEAD_STRIDE_16:
		return "s16";
	case MODEL_HEAD_STRIDE_8:
		return "s8";
	default:
		return "?";
	}
}
```

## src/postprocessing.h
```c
/*
 * Copyright (c) 2026 Nordic Semiconductor ASA
 *
 * SPDX-License-Identifier: LicenseRef-Nordic-5-Clause
 */

#ifndef __POSTPROCESSING_H__
#define __POSTPROCESSING_H__

#include <stddef.h>
#include <stdint.h>

#include <drivers/axon/nrf_axon_nn_infer.h>

/**
 * @brief Model head ID.
 */
enum model_head {
	MODEL_HEAD_STRIDE_32, /**< coarse grid, extra output 1 */
	MODEL_HEAD_STRIDE_16, /**< medium grid, extra output 0 */
	MODEL_HEAD_STRIDE_8,  /**< fine grid, main output */
};

/**
 * @brief Bounding box for object detection.
 */
struct detection_box {
	/** Coordinates of left-top and right-bottom box vertices. */
	float x1, y1, x2, y2;
	/** Bounding box score. */
	float score;
	/** Model head ID. */
	enum model_head head_id;
};

/**
 * @brief Initialize decode procedure.
 *
 * @param model Axon model.
 */
void decode_init(const nrf_axon_nn_compiled_model_s *model);

/**
 * @brief Decode output from the model and perform NMS.
 *
 * @param model Axon model.
 * @param packed_data Output from the model in packed format.
 * @param[out] boxes Place to store results.
 * @param boxes_size Size of @p boxes array.
 *
 * @return Number of boxes written to @p boxes.
 */
size_t decode_output(const nrf_axon_nn_compiled_model_s *model, const int8_t *packed_data,
		     struct detection_box *boxes, const size_t boxes_size);

/**
 * @brief Gives string name of model's head.
 *
 * @param head_id Model's head ID.
 *
 * @return Head name.
 */
const char *model_head_name(enum model_head head_id);

#endif /* __POSTPROCESSING_H__ */
```

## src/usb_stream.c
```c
/*
 * Copyright (c) 2026 Nordic Semiconductor ASA
 * SPDX-License-Identifier: LicenseRef-Nordic-5-Clause
 *
 * USB CDC ACM streaming: send RGB565 frames and detection boxes over USB HS.
 *
 * Uses the Zephyr device_next USB stack with CDC ACM class.
 *
 * The CDC ACM fifo API (uart_fifo_fill, uart_irq_tx_ready, etc.) must only
 * be called from the CDC ACM workqueue context.  Therefore we use an
 * application-level ring buffer: the main thread stages complete messages
 * into it, then calls uart_irq_tx_enable() (safe from any context) to
 * schedule the CDC ACM IRQ callback.  The callback drains the app ring
 * buffer via uart_fifo_fill() from the correct context.
 */

#include <zephyr/kernel.h>
#include <zephyr/device.h>
#include <zephyr/drivers/uart.h>
#include <zephyr/usb/usbd.h>
#include <zephyr/sys/atomic.h>
#include <zephyr/sys/crc.h>
#include <zephyr/sys/ring_buffer.h>
#include <zephyr/logging/log.h>

#include <string.h>

#include "usb_stream.h"

LOG_MODULE_REGISTER(usb_stream, LOG_LEVEL_INF);

/* Provided by sample_usbd_init.c (included via common.cmake). */
struct usbd_context *sample_usbd_init_device(usbd_msg_cb_t msg_cb);

static const struct device *cdc_dev = DEVICE_DT_GET_ONE(zephyr_cdc_acm_uart);
static atomic_t dtr_set;
static struct usbd_context *usbd_ctx;

/*
 * Application-level TX ring buffer.  The main thread writes complete
 * messages here; the CDC ACM IRQ callback drains it via uart_fifo_fill().
 */
#define APP_TX_BUF_SIZE 8192
static uint8_t app_tx_buffer[APP_TX_BUF_SIZE];
static struct ring_buf app_tx_rb;

/* Signalled by the IRQ callback when it has drained some data. */
static K_SEM_DEFINE(tx_drain_sem, 0, 1);

/* ------------------------------------------------------------------ */
/* CDC ACM IRQ callback — runs in CDC ACM workqueue context           */
/* ------------------------------------------------------------------ */

static void cdc_acm_irq_handler(const struct device *dev, void *user_data)
{
	ARG_UNUSED(user_data);

	while (uart_irq_update(dev) && uart_irq_is_pending(dev)) {
		if (uart_irq_tx_ready(dev)) {
			uint8_t *data_ptr;
			uint32_t claimed;

			claimed = ring_buf_get_claim(&app_tx_rb, &data_ptr, 512);
			if (claimed == 0) {
				uart_irq_tx_disable(dev);
				break;
			}

			int sent = uart_fifo_fill(dev, data_ptr, claimed);

			if (sent <= 0) {
				ring_buf_get_finish(&app_tx_rb, 0);
				break;
			}
			ring_buf_get_finish(&app_tx_rb, sent);

			/* Signal the main thread that buffer space is available. */
			k_sem_give(&tx_drain_sem);
		}
	}
}

/* ------------------------------------------------------------------ */
/* Message staging helpers — run from the main thread                 */
/* ------------------------------------------------------------------ */

static void usbd_msg_cb(struct usbd_context *const ctx, const struct usbd_msg *msg)
{
	if (usbd_can_detect_vbus(ctx)) {
		if (msg->type == USBD_MSG_VBUS_READY) {
			(void)usbd_enable(ctx);
		}
		if (msg->type == USBD_MSG_VBUS_REMOVED) {
			(void)usbd_disable(ctx);
		}
	}

	if (msg->type == USBD_MSG_CDC_ACM_CONTROL_LINE_STATE) {
		uint32_t dtr = 0U;

		(void)uart_line_ctrl_get(msg->dev, UART_LINE_CTRL_DTR, &dtr);
		atomic_set(&dtr_set, dtr ? 1 : 0);
		if (dtr) {
			LOG_INF("USB host connected (DTR)");
		} else {
			LOG_INF("USB host disconnected (DTR cleared)");
		}
	}
}

/**
 * Stage data into the app TX ring buffer.  Blocks until all data is
 * staged — the CDC ACM IRQ callback drains the buffer in the background.
 * Returns false if DTR was deasserted mid-transfer (host disconnected).
 */
static bool tx_stage(const uint8_t *data, size_t len)
{
	size_t done = 0;

	while (done < len) {
		if (!atomic_get(&dtr_set)) {
			return false;
		}

		uint32_t n = ring_buf_put(&app_tx_rb, data + done, len - done);

		done += n;
		if (done < len) {
			/* Kick CDC ACM TX and block until callback drains some data. */
			uart_irq_tx_enable(cdc_dev);
			k_sem_take(&tx_drain_sem, K_MSEC(10));
		}
	}

	/* Ensure TX path is running after staging new data. */
	uart_irq_tx_enable(cdc_dev);
	return true;
}

static void le16_put(uint8_t *dst, uint16_t v)
{
	dst[0] = (uint8_t)v;
	dst[1] = (uint8_t)(v >> 8);
}

static void le32_put(uint8_t *dst, uint32_t v)
{
	dst[0] = (uint8_t)v;
	dst[1] = (uint8_t)(v >> 8);
	dst[2] = (uint8_t)(v >> 16);
	dst[3] = (uint8_t)(v >> 24);
}

static void float_put(uint8_t *dst, float v)
{
	uint32_t u;

	memcpy(&u, &v, sizeof(u));
	le32_put(dst, u);
}

int usb_stream_init(void)
{
	if (!device_is_ready(cdc_dev)) {
		LOG_ERR("CDC ACM device not ready");
		return -ENODEV;
	}

	ring_buf_init(&app_tx_rb, sizeof(app_tx_buffer), app_tx_buffer);

	uart_irq_callback_set(cdc_dev, cdc_acm_irq_handler);

	usbd_ctx = sample_usbd_init_device(usbd_msg_cb);
	if (usbd_ctx == NULL) {
		LOG_ERR("USB device init failed");
		return -EIO;
	}

	if (!usbd_can_detect_vbus(usbd_ctx)) {
		int err = usbd_enable(usbd_ctx);

		if (err != 0) {
			LOG_ERR("usbd_enable failed: %d", err);
			return err;
		}
	}

	LOG_INF("USB CDC ACM stream ready (waiting for host DTR)");
	return 0;
}

/* ------------------------------------------------------------------ */
/* Streaming frame API                                                */
/* ------------------------------------------------------------------ */

static uint32_t frame_crc;
static uint32_t frame_tx_id;
static bool frame_active;

void usb_stream_frame_begin(uint32_t frame_id, uint16_t w, uint16_t h,
			    uint32_t payload_len)
{
	if (!atomic_get(&dtr_set)) {
		frame_active = false;
		return;
	}

	frame_crc = 0U;
	frame_tx_id = frame_id;

	/* 18-byte header: magic(4) + ver(1) + type(1) + w(2) + h(2) +
	 * payload_len(4) + frame_id(4).  CRC follows payload as trailer.
	 */
	uint8_t hdr[18];

	le32_put(&hdr[0], USB_STREAM_MAGIC);
	hdr[4] = USB_STREAM_VERSION;
	hdr[5] = USB_STREAM_TYPE_FRAME;
	le16_put(&hdr[6], w);
	le16_put(&hdr[8], h);
	le32_put(&hdr[10], payload_len);
	le32_put(&hdr[14], frame_id);

	frame_active = tx_stage(hdr, sizeof(hdr));
}

void usb_stream_frame_chunk(const uint8_t *data, size_t len)
{
	if (!frame_active) {
		return;
	}

	frame_crc = crc32_ieee_update(frame_crc, data, len);

	if (!tx_stage(data, len)) {
		frame_active = false;
	}
}

void usb_stream_frame_end(void)
{
	if (!frame_active) {
		return;
	}

	uint8_t crc_buf[4];

	le32_put(crc_buf, frame_crc);
	tx_stage(crc_buf, sizeof(crc_buf));

	frame_active = false;
}

void usb_stream_send_detections(uint32_t frame_id, uint16_t model_w, uint16_t model_h,
				uint16_t pad_left, uint16_t pad_top,
				const struct person_det_box *boxes, int count)
{
	if (!atomic_get(&dtr_set)) {
		return;
	}

	if (count < 0) {
		count = 0;
	}
	if (count > 255) {
		count = 255;
	}

	/*
	 * Layout: magic(4) + hdr(15) + boxes(count*21) + crc32(4)
	 * CRC covers hdr + boxes (everything after magic, before crc32).
	 */

	/* Build 15-byte header (after magic). */
	uint8_t hdr[15];

	hdr[0] = USB_STREAM_VERSION;
	hdr[1] = USB_STREAM_TYPE_DETECT;
	le32_put(&hdr[2], frame_id);
	le16_put(&hdr[6], model_w);
	le16_put(&hdr[8], model_h);
	le16_put(&hdr[10], pad_left);
	le16_put(&hdr[12], pad_top);
	hdr[14] = (uint8_t)count;

	uint32_t crc = crc32_ieee(hdr, sizeof(hdr));

	/* Serialize boxes into a contiguous buffer for CRC + TX in one pass.
	 * Stack cost: at most 21 * count bytes. The caller typically passes
	 * a small array (person_det uses MAX_BOXES_LOG = 8 → 168 bytes).
	 */
	uint8_t box_data[count * 21];

	for (int i = 0; i < count; i++) {
		uint8_t *bp = &box_data[i * 21];

		float_put(&bp[0], boxes[i].x1);
		float_put(&bp[4], boxes[i].y1);
		float_put(&bp[8], boxes[i].x2);
		float_put(&bp[12], boxes[i].y2);
		float_put(&bp[16], boxes[i].score);
		bp[20] = (uint8_t)boxes[i].head;
	}

	const size_t box_bytes = (size_t)count * 21;

	if (box_bytes > 0) {
		crc = crc32_ieee_update(crc, box_data, box_bytes);
	}

	/* Transmit: magic + hdr + boxes + crc32 */
	uint8_t magic_buf[4];

	le32_put(magic_buf, USB_STREAM_MAGIC);

	if (!tx_stage(magic_buf, sizeof(magic_buf))) {
		return;
	}
	if (!tx_stage(hdr, sizeof(hdr))) {
		return;
	}
	if (box_bytes > 0 && !tx_stage(box_data, box_bytes)) {
		return;
	}

	uint8_t crc_buf[4];

	le32_put(crc_buf, crc);
	tx_stage(crc_buf, sizeof(crc_buf));
}
```

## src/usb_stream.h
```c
/*
 * Copyright (c) 2026 Nordic Semiconductor ASA
 * SPDX-License-Identifier: LicenseRef-Nordic-5-Clause
 *
 * USB CDC ACM streaming: RGB565 frames + detection boxes over USB HS.
 */

#pragma once

#include <stdint.h>
#include <stddef.h>

#include "person_det_postprocess.h"

#define USB_STREAM_MAGIC       0x12345AA5U
#define USB_STREAM_VERSION     1
#define USB_STREAM_TYPE_FRAME  0x01
#define USB_STREAM_TYPE_DETECT 0x02

int usb_stream_init(void);

/**
 * Streaming frame API — overlaps USB TX with camera capture.
 *
 * Frame wire format (CRC is a trailer, not in the header):
 *   [magic(4) ver(1) type(1) w(2) h(2) plen(4) fid(4)]  — 18 B header
 *   [payload: RGB565 BE]                                  — plen bytes
 *   [crc32(payload)]                                      — 4 B trailer
 */
void usb_stream_frame_begin(uint32_t frame_id, uint16_t w, uint16_t h,
			    uint32_t payload_len);
void usb_stream_frame_chunk(const uint8_t *data, size_t len);
void usb_stream_frame_end(void);

void usb_stream_send_detections(uint32_t frame_id, uint16_t model_w, uint16_t model_h,
				uint16_t pad_left, uint16_t pad_top,
				const struct person_det_box *boxes, int count);
```
